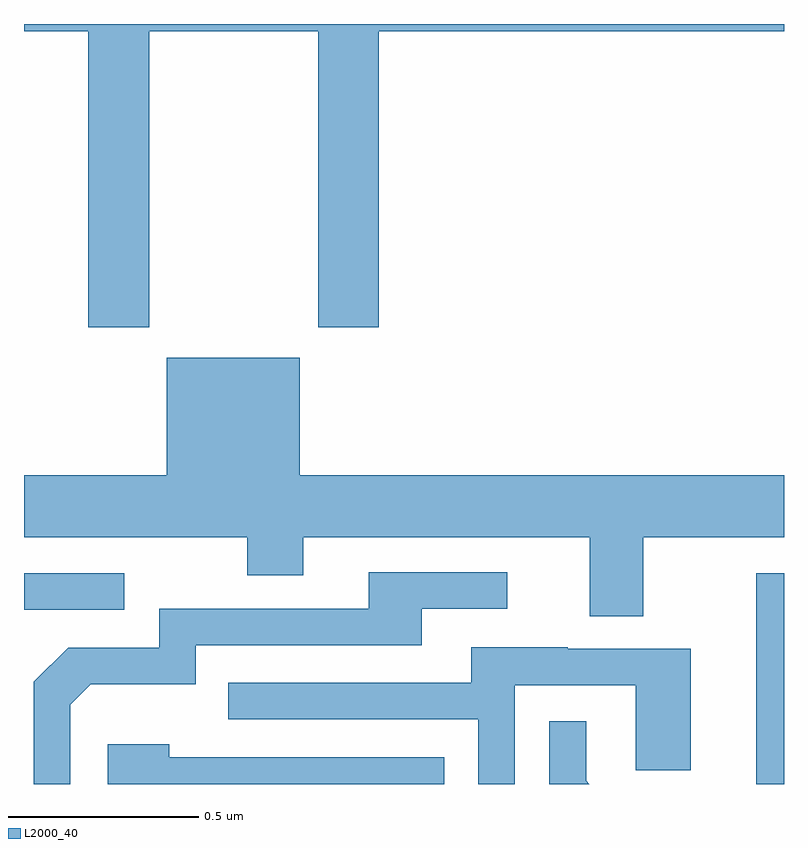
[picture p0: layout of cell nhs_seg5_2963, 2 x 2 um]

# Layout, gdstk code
import gdstk
lib = gdstk.Library(unit=1e-6, precision=1e-09)
def R(c, l, rs):  # rectangles x0, y0, x1, y1
    for r in rs: c.add(gdstk.rectangle(r[:2], r[2:], *l))
def P(c, l, *ps):  # polygons
    for p in ps: c.add(gdstk.Polygon(p, *l))
L2000_40 = (2000, 40)

nhs_seg5_2963 = lib.new_cell('nhs_seg5_2963')
R(nhs_seg5_2963, L2000_40, [(152.927,834.799,153,835.353), (151,835.257,151.264,835.353)])
P(nhs_seg5_2963, L2000_40, [(151.329,836.78),(151.774,836.78),(151.774,836.001),(151.934,836.001),(151.934,836.78),(153,836.78),(153,836.799),(151,836.799),(151,836.78),(151.169,836.78),(151.169,836.001),(151.329,836.001)],
  [(152.629,835.448),(153,835.448),(153,835.612),(151.726,835.612),(151.726,835.921),(151.376,835.921),(151.376,835.612),(151,835.612),(151,835.448),(151.588,835.448),(151.588,835.349),(151.735,835.349),(151.735,835.448),(152.489,835.448),(152.489,835.24),(152.629,835.24)],
  [(151.122,835.008),(151.175,835.061),(151.452,835.061),(151.452,835.164),(152.047,835.164),(152.047,835.26),(152.272,835.26),(152.272,835.356),(151.907,835.356),(151.907,835.26),(151.356,835.26),(151.356,835.158),(151.116,835.158),(151.026,835.068),(151.026,834.799),(151.122,834.799)],
  [(152.292,835.059),(152.61,835.059),(152.61,834.835),(152.755,834.835),(152.755,835.155),(152.431,835.155),(152.431,835.159),(152.177,835.159),(152.177,835.065),(151.537,835.065),(151.537,834.969),(152.196,834.969),(152.196,834.799),(152.292,834.799)],
  [(152.479,834.807),(152.479,834.964),(152.382,834.964),(152.382,834.799),(152.487,834.799)],
  [(152.106,834.87),(151.382,834.87),(151.382,834.904),(151.221,834.904),(151.221,834.799),(152.106,834.799)])

lib.write_gds('nhs_seg5_2963.gds')
